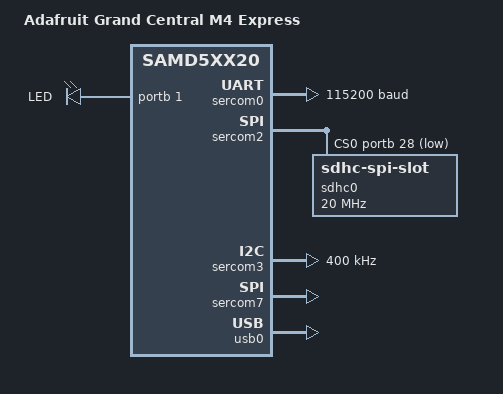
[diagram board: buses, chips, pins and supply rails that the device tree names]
/*
 * Copyright (c) 2023 Lukas Jung <lukas.jung@mailbox.org>
 * SPDX-License-Identifier: Apache-2.0
 */

/dts-v1/;
#include <atmel/samd5xx20.dtsi>
#include "adafruit_grand_central_m4_express-pinctrl.dtsi"

/ {
	model = "Adafruit Grand Central M4 Express";
	compatible = "adafruit,grand-central-m4-express";

	chosen {
		zephyr,console = &sercom0;
		zephyr,shell-uart = &sercom0;
		zephyr,sram = &sram0;
		zephyr,flash = &flash0;
		zephyr,code-partition = &code_partition;
	};

	/* These aliases are provided for compatibility with samples */
	aliases {
		led0 = &led0;
		sdhc0 = &sdhc0;
	};

	leds {
		compatible = "gpio-leds";
		led0: led_0 {
			gpios = <&portb 1 0>;
			label = "LED";
		};
	};
};

&cpu0 {
	clock-frequency = <120000000>;
};

&sercom0 {
	status = "okay";
	compatible = "atmel,sam0-uart";
	current-speed = <115200>;
	rxpo = <1>;
	txpo = <0>;

	pinctrl-0 = <&sercom0_uart_default>;
	pinctrl-names = "default";
};

&sercom2 {
	status = "okay";
	compatible = "atmel,sam0-spi";
	dipo = <3>;
	dopo = <0>;

	#address-cells = <1>;
	#size-cells = <0>;

	pinctrl-0 = <&sercom2_spi_default>;
	pinctrl-names = "default";

	cs-gpios = <&portb 28 GPIO_ACTIVE_LOW>;

	/* microSD Card */
	sdhc0: sdhc@0 {
		status = "okay";
		compatible = "zephyr,sdhc-spi-slot";
		reg = <0>;
		spi-max-frequency = <20000000>;
		mmc {
			status = "okay";
			compatible = "zephyr,sdmmc-disk";
		};
	};
};

&sercom3 {
	status = "okay";
	compatible = "atmel,sam0-i2c";
	clock-frequency = <I2C_BITRATE_FAST>;

	#address-cells = <1>;
	#size-cells = <0>;

	pinctrl-0 = <&sercom3_i2c_default>;
	pinctrl-names = "default";
};

&sercom7 {
	status = "okay";
	compatible = "atmel,sam0-spi";
	dipo = <3>;
	dopo = <0>;

	#address-cells = <1>;
	#size-cells = <0>;

	pinctrl-0 = <&sercom7_spi_default>;
	pinctrl-names = "default";
};

zephyr_udc0: &usb0 {
	status = "okay";

	pinctrl-0 = <&usb_dc_default>;
	pinctrl-names = "default";
};

&dmac {
	status = "okay";
};

&flash0 {
	partitions {
		compatible = "fixed-partitions";
		#address-cells = <1>;
		#size-cells = <1>;

		boot_partition: partition@0 {
			label = "uf2";
			reg = <0x00000000 DT_SIZE_K(16)>;
			read-only;
		};

		code_partition: partition@4000 {
			label = "code";
			reg = <0x4000 DT_SIZE_K(1024-16)>;
			read-only;
		};
	};
};
